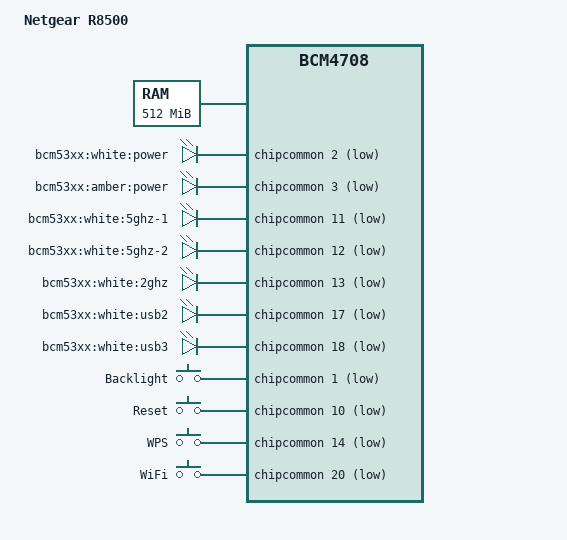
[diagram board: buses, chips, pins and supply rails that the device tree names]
// SPDX-License-Identifier: GPL-2.0-or-later OR MIT
/*
 * Copyright (C) 2016 Rafał Miłecki <rafal@milecki.pl>
 */

/dts-v1/;

#include "bcm47094.dtsi"
#include "bcm5301x-nand-cs0-bch8.dtsi"

/ {
	compatible = "netgear,r8500", "brcm,bcm47094", "brcm,bcm4708";
	model = "Netgear R8500";

	chosen {
		bootargs = "console=ttyS0,115200";
	};

	memory {
		reg = <0x00000000 0x08000000
		       0x88000000 0x18000000>;
	};

	leds {
		compatible = "gpio-leds";

		power0 {
			label = "bcm53xx:white:power";
			gpios = <&chipcommon 2 GPIO_ACTIVE_LOW>;
			linux,default-trigger = "default-on";
		};

		power1 {
			label = "bcm53xx:amber:power";
			gpios = <&chipcommon 3 GPIO_ACTIVE_LOW>;
		};

		5ghz-1 {
			label = "bcm53xx:white:5ghz-1";
			gpios = <&chipcommon 11 GPIO_ACTIVE_LOW>;
		};

		5ghz-2 {
			label = "bcm53xx:white:5ghz-2";
			gpios = <&chipcommon 12 GPIO_ACTIVE_LOW>;
		};

		2ghz {
			label = "bcm53xx:white:2ghz";
			gpios = <&chipcommon 13 GPIO_ACTIVE_LOW>;
		};

		usb2 {
			label = "bcm53xx:white:usb2";
			gpios = <&chipcommon 17 GPIO_ACTIVE_LOW>;
		};

		usb3 {
			label = "bcm53xx:white:usb3";
			gpios = <&chipcommon 18 GPIO_ACTIVE_LOW>;
		};
	};

	gpio-keys {
		compatible = "gpio-keys";
		#address-cells = <1>;
		#size-cells = <0>;

		brightness {
			label = "Backlight";
			linux,code = <KEY_BRIGHTNESS_ZERO>;
			gpios = <&chipcommon 1 GPIO_ACTIVE_LOW>;
		};

		restart {
			label = "Reset";
			linux,code = <KEY_RESTART>;
			gpios = <&chipcommon 10 GPIO_ACTIVE_LOW>;
		};

		wps {
			label = "WPS";
			linux,code = <KEY_WPS_BUTTON>;
			gpios = <&chipcommon 14 GPIO_ACTIVE_LOW>;
		};

		rfkill {
			label = "WiFi";
			linux,code = <KEY_RFKILL>;
			gpios = <&chipcommon 20 GPIO_ACTIVE_LOW>;
		};
	};
};
